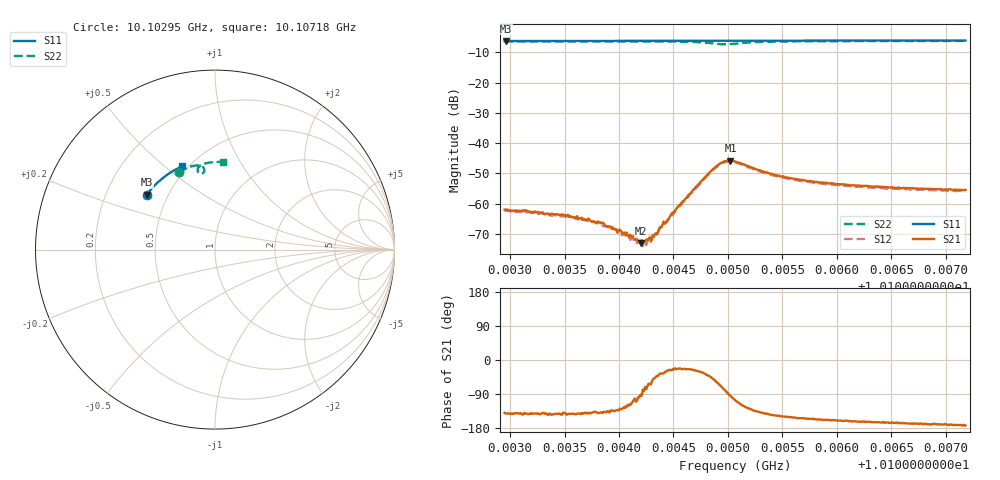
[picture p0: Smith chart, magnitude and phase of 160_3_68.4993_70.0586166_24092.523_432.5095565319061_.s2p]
#  HZ  S  RI  R  50.00
! Rohde & Schwarz Vector Network Analyzer
! Rohde-Schwarz,ZNB20-2Port,1311601062101988,3.16
! Created: UTC 3/20/2024, 5:10:54 PM
! freq[Hz]  re:S11  im:S11  re:S21  im:S21  re:S12  im:S12  re:S22  im:S22
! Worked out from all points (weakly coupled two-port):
!   401 points, 10.10295 GHz to 10.10718 GHz, reference 50 ohm
!   highest |S21| = -45.84 dB at 10.10502 GHz (marker M1); lowest = -73.2 dB at 10.1042 GHz (marker M2)
!   lowest |S11| = -6.2 dB at 10.10296 GHz (marker M3), VSWR 2.90, Z = 19.1 + j15.4 ohm
!   |S11| at or under -10 dB: nowhere
!   |S22| runs from -7.3 to -6.2 dB; largest |S21 - S12| = 0.00053
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1.010295e10  -0.3798 0.3063  -0.000602 -0.000514  -0.000543 -0.000502  -0.2028 0.4351
1.0102961e10  -0.3793 0.3068  -0.000621 -0.000503  -0.000556 -0.000535  -0.2022 0.4354
1.010331e10  -0.3663 0.3236  -0.000514 -0.000441  -0.000483 -0.000462  -0.1812 0.4455
1.0103659e10  -0.3527 0.34  -0.000445 -0.000376  -0.000405 -0.000367  -0.1593 0.4547
1.0103838e10  -0.3455 0.3478  -0.00035 -0.000315  -0.000287 -0.000325  -0.1475 0.459
1.0103955e10  -0.3405 0.3532  -0.000266 -0.000269  -0.000256 -0.00029  -0.1395 0.4615
1.0104124e10  -0.3335 0.3606  -9.89e-05 -0.000259  -8.93e-05 -0.000242  -0.1273 0.4649
1.0104198e10  -0.3303 0.3634  -5.82e-06 -0.000219  4.97e-06 -0.00024  -0.1219 0.4661
1.010424e10  -0.3285 0.3655  7.69e-05 -0.000227  5.95e-05 -0.000215  -0.1186 0.4669
1.0104314e10  -0.3254 0.3687  0.000186 -0.000222  0.000215 -0.000213  -0.1126 0.4679
1.0104367e10  -0.3229 0.3709  0.000294 -0.000232  0.000293 -0.000201  -0.1081 0.4686
1.0104388e10  -0.3219 0.3716  0.000329 -0.000233  0.000356 -0.000199  -0.1064 0.4687
1.0104441e10  -0.3197 0.374  0.000442 -0.000237  0.000494 -0.000198  -0.1015 0.4692
1.0104547e10  -0.3148 0.3783  0.000847 -0.000354  0.000842 -0.000287  -0.0913 0.469
1.0104843e10  -0.3012 0.3901  0.00241 -0.00245  0.00252 -0.00211  -0.0597 0.4466
1.0104949e10  -0.2964 0.3938  0.00142 -0.00458  0.00178 -0.00427  -0.0681 0.4258
1.0105023e10  -0.2928 0.3967  -0.000432 -0.00509  4.32e-05 -0.00493  -0.0856 0.4247
1.0105065e10  -0.2911 0.3983  -0.00135 -0.00479  -0.00086 -0.00472  -0.0928 0.4306
1.0105414e10  -0.2744 0.4113  -0.00251 -0.00171  -0.00224 -0.00186  -0.0774 0.4711
1.0105773e10  -0.2565 0.4238  -0.0021 -0.000953  -0.00197 -0.00108  -0.0487 0.4815
1.0106482e10  -0.2197 0.4458  -0.00179 -0.000442  -0.00165 -0.000613  0.000985 0.4881
1.010718e10  -0.1817 0.4641  -0.00167 -0.000206  -0.00154 -0.0004  0.0472 0.4878
